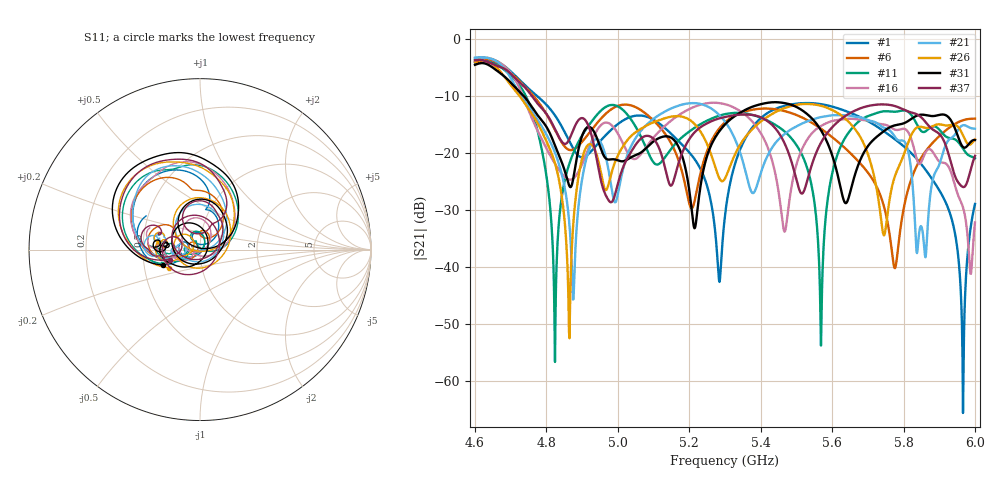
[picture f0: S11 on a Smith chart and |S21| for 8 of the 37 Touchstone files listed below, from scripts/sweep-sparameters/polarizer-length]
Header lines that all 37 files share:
! TOUCHSTONE file generated by CST MICROWAVE STUDIO
! Project name: test_tuning.cst
! Header version: 2024
! Port assignment regex: !\s*Touchstone port\s*([0-9]+)\s*=\s*(CST MWS port|CST DES external port|CST DES block port)\s*(.+)\s* \(\"(.*)\"\)(\s*mode\s*([0-9]+))?.*
! Touchstone port assignment:
! Touchstone port 1 = CST MWS port 1 ("Input1")
! Touchstone port 2 = CST MWS port 2 ("Input2")
# GHz S MA R 50
Fixed: airCoaxOuterDiameter = 3, chamferAngle = 45, chamferWidth = 24, connectorLength = 10, drillingHoleDiameter = 4.1, feedLength = 60, flareDiameter = 130, flareLength = 70, gratingDistance = 0, gratingGap = 1.90274, outletLength = 30, probe1Diameter = 1.3, probe1Distance = 14, probe1Length = 12, probe2Diameter = 1.3, probe2Distance = 0, probe2Length = 12, probeLength = 12, smaInnerDiameter = 1.3, smaOuterDiameter = 4.1, transitionCoefficient = 1.33, waveguideFeedLength = 30, waveguideSide = 50, waveguideThickness = 3, wireCount = 25, wireDiameter = 1.17699
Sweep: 4.6 GHz to 6 GHz
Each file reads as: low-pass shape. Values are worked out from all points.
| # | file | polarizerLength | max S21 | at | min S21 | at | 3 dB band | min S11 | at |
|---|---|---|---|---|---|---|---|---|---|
| 1 | polarizer_length_1.s2p | 64 | -3.41 dB | 4.625 GHz | -65.6 dB | 5.966 GHz | 4.6 GHz-4.711 GHz | -37.2 dB | 5.223 GHz |
| 2 | polarizer_length_2.s2p | 66 | -3.42 dB | 4.627 GHz | -50.5 dB | 5.923 GHz | 4.6 GHz-4.712 GHz | -35.0 dB | 5.215 GHz |
| 3 | polarizer_length_3.s2p | 68 | -3.44 dB | 4.627 GHz | -47.7 dB | 5.882 GHz | 4.6 GHz-4.712 GHz | -34.0 dB | 5.205 GHz |
| 4 | polarizer_length_4.s2p | 70 | -3.49 dB | 4.624 GHz | -43.9 dB | 5.846 GHz | 4.6 GHz-4.712 GHz | -33.9 dB | 5.194 GHz |
| 5 | polarizer_length_5.s2p | 72 | -3.59 dB | 4.625 GHz | -40.4 dB | 5.81 GHz | 4.6 GHz-4.712 GHz | -34.8 dB | 5.182 GHz |
| 6 | polarizer_length_6.s2p | 74 | -3.73 dB | 4.627 GHz | -40.2 dB | 5.776 GHz | 4.6 GHz-4.712 GHz | -38.0 dB | 5.322 GHz |
| 7 | polarizer_length_10.s2p | 82 | -4.22 dB | 4.627 GHz | -39.1 dB | 5.664 GHz | 4.6 GHz-4.708 GHz | -38.4 dB | 5.255 GHz |
| 8 | polarizer_length_11.s2p | 84 | -4.25 dB | 4.627 GHz | -39.3 dB | 5.639 GHz | 4.6 GHz-4.708 GHz | -37.2 dB | 5.244 GHz |
| 9 | polarizer_length_12.s2p | 86 | -4.19 dB | 4.625 GHz | -42.1 dB | 5.614 GHz | 4.6 GHz-4.708 GHz | -37.6 dB | 5.234 GHz |
| 10 | polarizer_length_13.s2p | 88 | -4.09 dB | 4.625 GHz | -45.7 dB | 5.591 GHz | 4.6 GHz-4.708 GHz | -39.6 dB | 5.226 GHz |
| 11 | polarizer_length_14.s2p | 90 | -3.96 dB | 4.624 GHz | -56.7 dB | 4.824 GHz | 4.6 GHz-4.708 GHz | -43.4 dB | 5.22 GHz |
| 12 | polarizer_length_15.s2p | 92 | -3.81 dB | 4.622 GHz | -51.4 dB | 5.546 GHz | 4.6 GHz-4.706 GHz | -52.0 dB | 5.217 GHz |
| 13 | polarizer_length_16.s2p | 94 | -3.65 dB | 4.624 GHz | -43.9 dB | 5.527 GHz | 4.6 GHz-4.706 GHz | -68.4 dB | 5.217 GHz |
| 14 | polarizer_length_17.s2p | 96 | -3.51 dB | 4.621 GHz | -39.1 dB | 5.506 GHz | 4.6 GHz-4.705 GHz | -65.9 dB | 5.22 GHz |
| 15 | polarizer_length_18.s2p | 98 | -3.38 dB | 4.62 GHz | -36.3 dB | 5.486 GHz | 4.6 GHz-4.704 GHz | -50.1 dB | 5.223 GHz |
| 16 | polarizer_length_19.s2p | 100 | -3.28 dB | 4.62 GHz | -41.2 dB | 5.987 GHz | 4.6 GHz-4.702 GHz | -39.3 dB | 5.227 GHz |
| 17 | polarizer_length_20.s2p | 102 | -3.21 dB | 4.62 GHz | -38.3 dB | 5.966 GHz | 4.6 GHz-4.701 GHz | -33.5 dB | 5.227 GHz |
| 18 | polarizer_length_21.s2p | 104 | -3.17 dB | 4.617 GHz | -41.0 dB | 5.93 GHz | 4.6 GHz-4.699 GHz | -31.5 dB | 4.935 GHz |
| 19 | polarizer_length_22.s2p | 106 | -3.17 dB | 4.62 GHz | -42.1 dB | 5.91 GHz | 4.6 GHz-4.697 GHz | -34.5 dB | 4.93 GHz |
| 20 | polarizer_length_23.s2p | 108 | -3.20 dB | 4.62 GHz | -47.5 dB | 4.879 GHz | 4.6 GHz-4.695 GHz | -39.6 dB | 4.928 GHz |
| 21 | polarizer_length_24.s2p | 110 | -3.27 dB | 4.617 GHz | -45.7 dB | 4.874 GHz | 4.6 GHz-4.694 GHz | -45.8 dB | 4.925 GHz |
| 22 | polarizer_length_25.s2p | 112 | -3.39 dB | 4.615 GHz | -39.6 dB | 4.872 GHz | 4.6 GHz-4.691 GHz | -54.8 dB | 4.922 GHz |
| 23 | polarizer_length_26.s2p | 114 | -3.52 dB | 4.615 GHz | -47.1 dB | 4.979 GHz | 4.6 GHz-4.69 GHz | -49.6 dB | 4.919 GHz |
| 24 | polarizer_length_27.s2p | 116 | -3.70 dB | 4.617 GHz | -39.4 dB | 4.865 GHz | 4.6 GHz-4.688 GHz | -45.9 dB | 4.916 GHz |
| 25 | polarizer_length_28.s2p | 118 | -3.91 dB | 4.615 GHz | -44.1 dB | 4.863 GHz | 4.6 GHz-4.687 GHz | -42.8 dB | 4.914 GHz |
| 26 | polarizer_length_29.s2p | 120 | -4.08 dB | 4.611 GHz | -52.5 dB | 4.865 GHz | 4.6 GHz-4.687 GHz | -40.6 dB | 4.911 GHz |
| 27 | polarizer_length_30.s2p | 122 | -4.23 dB | 4.622 GHz | -50.2 dB | 4.867 GHz | 4.6 GHz-4.687 GHz | -39.0 dB | 4.907 GHz |
| 28 | polarizer_length_31.s2p | 124 | -4.32 dB | 4.62 GHz | -40.8 dB | 4.869 GHz | 4.6 GHz-4.687 GHz | -40.6 dB | 5.378 GHz |
| 29 | polarizer_length_32.s2p | 126 | -4.38 dB | 4.618 GHz | -34.0 dB | 4.869 GHz | 4.6 GHz-4.688 GHz | -42.2 dB | 4.9 GHz |
| 30 | polarizer_length_33.s2p | 128 | -4.36 dB | 4.618 GHz | -29.8 dB | 5.658 GHz | 4.6 GHz-4.691 GHz | -56.0 dB | 4.897 GHz |
| 31 | polarizer_length_34.s2p | 130 | -4.29 dB | 4.62 GHz | -33.2 dB | 5.215 GHz | 4.6 GHz-4.692 GHz | -39.9 dB | 4.893 GHz |
| 32 | polarizer_length_35.s2p | 132 | -4.21 dB | 4.62 GHz | -39.7 dB | 5.202 GHz | 4.6 GHz-4.697 GHz | -34.0 dB | 4.89 GHz |
| 33 | polarizer_length_36.s2p | 134 | -4.12 dB | 4.621 GHz | -53.6 dB | 5.191 GHz | 4.6 GHz-4.699 GHz | -29.3 dB | 4.887 GHz |
| 34 | polarizer_length_37.s2p | 136 | -4.02 dB | 4.618 GHz | -36.8 dB | 5.18 GHz | 4.6 GHz-4.704 GHz | -26.0 dB | 4.886 GHz |
| 35 | polarizer_length_38.s2p | 138 | -3.91 dB | 4.617 GHz | -37.0 dB | 5.994 GHz | 4.6 GHz-4.705 GHz | -26.0 dB | 5.079 GHz |
| 36 | polarizer_length_39.s2p | 140 | -3.82 dB | 4.614 GHz | -37.5 dB | 5.969 GHz | 4.6 GHz-4.708 GHz | -25.9 dB | 5.076 GHz |
| 37 | polarizer_length_40.s2p | 142 | -3.75 dB | 4.611 GHz | -28.7 dB | 4.981 GHz | 4.6 GHz-4.709 GHz | -25.1 dB | 5.073 GHz |
